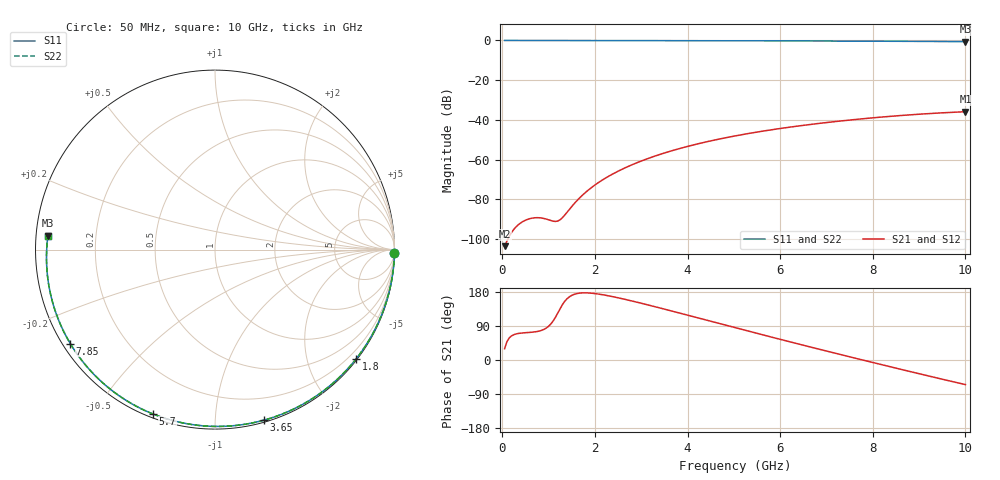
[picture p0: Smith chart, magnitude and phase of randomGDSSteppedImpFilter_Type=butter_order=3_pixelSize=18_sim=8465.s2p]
! freq	dB(S11)	phase(S11)	dB(S12)	phase(S12)
!  dB(S21)	phase(S21)	dB(S22)	phase(S22)
!S-par simulation data
#  GHz  S  DB  R 50
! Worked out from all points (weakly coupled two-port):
!   200 points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, 50 MHz to 10 GHz, reference 50 ohm
!   highest |S21| = -35.85 dB at 10 GHz (marker M1); lowest = -103.5 dB at 50 MHz (marker M2)
!   lowest |S11| = -0.6 dB at 10 GHz (marker M3), VSWR 29.26, Z = 1.71 + j2.08 ohm
!   |S11| at or under -10 dB: nowhere
!   |S22| runs from -0.6 to 0.0 dB; largest |S21 - S12| = 0
!   S11 on the Smith chart (normalised r, x): 50 MHz: open; 1.8 GHz: 0.03, -2.93; 3.65 GHz: 0.02, -1.33; 5.7 GHz: 0.02, -0.69; 7.85 GHz: 0.02, -0.30; 10 GHz: 0.03, +0.04
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0.05  -0.00 -1.1  -103.48 29.8  -103.48 29.8  -0.00 -1.1
0.4  -0.01 -8.5  -91.75 71.0  -91.75 71.0  -0.01 -8.5
0.8  -0.02 -17.0  -89.19 76.5  -89.19 76.5  -0.02 -17.0
1.2  -0.03 -25.3  -90.83 124.5  -90.83 124.5  -0.03 -25.3
1.6  -0.04 -33.6  -80.87 174.9  -80.87 174.9  -0.04 -33.6
1.65  -0.04 -34.6  -79.65 176.1  -79.65 176.1  -0.04 -34.6
1.75  -0.05 -36.6  -77.41 177.2  -77.41 177.2  -0.05 -36.6
1.8  -0.05 -37.6  -76.38 177.2  -76.38 177.2  -0.05 -37.6
2.1  -0.06 -43.7  -71.12 173.6  -71.12 173.6  -0.06 -43.7
2.45  -0.06 -50.7  -66.36 165.5  -66.36 165.5  -0.06 -50.7
2.9  -0.08 -59.6  -61.57 152.8  -61.57 152.8  -0.08 -59.6
3.4  -0.09 -69.2  -57.35 137.4  -57.35 137.4  -0.09 -69.2
3.65  -0.10 -73.9  -55.55 129.6  -55.55 129.6  -0.10 -73.9
4.35  -0.12 -86.8  -51.31 107.1  -51.31 107.1  -0.12 -86.8
5.05  -0.15 -99.3  -47.92 84.7  -47.92 84.7  -0.15 -99.3
5.7  -0.19 -110.6  -45.34 64.0  -45.34 64.0  -0.19 -110.7
6.7  -0.25 -127.7  -42.12 32.8  -42.12 32.8  -0.25 -127.7
7.3  -0.29 -137.8  -40.52 14.5  -40.52 14.5  -0.29 -137.8
7.85  -0.34 -147.0  -39.24 -2.1  -39.24 -2.1  -0.34 -147.0
8.35  -0.39 -155.5  -38.22 -17.0  -38.22 -17.0  -0.39 -155.5
9.2  -0.49 -170.3  -36.80 -42.0  -36.80 -42.0  -0.49 -170.3
10  -0.59 175.2  -35.85 -64.9  -35.85 -64.9  -0.59 175.2
